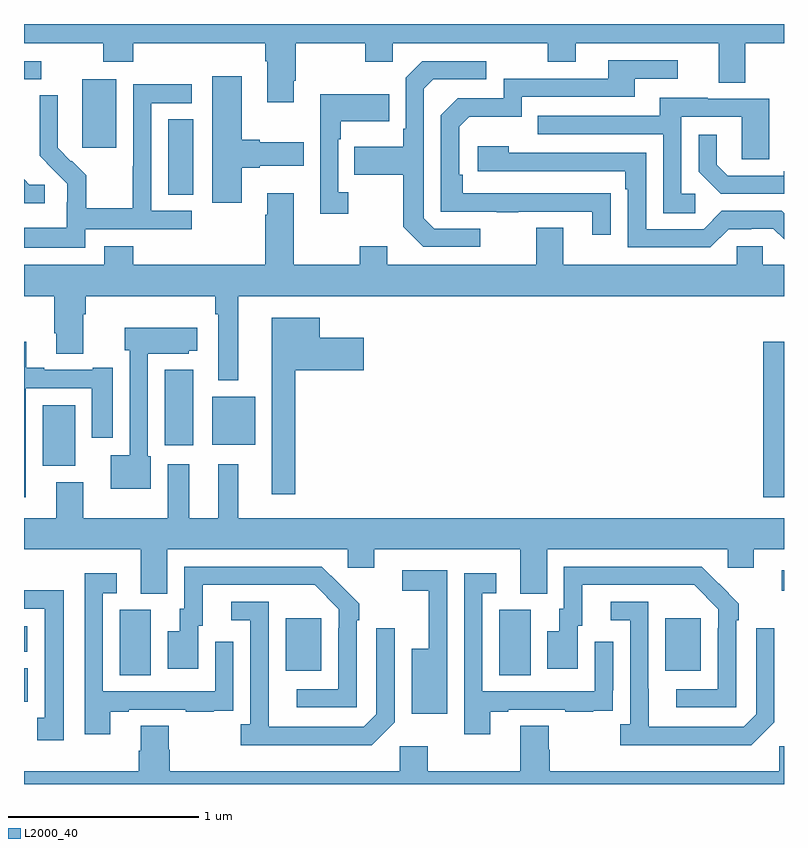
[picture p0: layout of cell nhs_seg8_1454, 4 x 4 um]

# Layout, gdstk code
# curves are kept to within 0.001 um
import gdstk
lib = gdstk.Library(unit=1e-6, precision=1e-09)
def R(c, l, rs):  # rectangles x0, y0, x1, y1
    for r in rs: c.add(gdstk.rectangle(r[:2], r[2:], *l))
def P(c, l, *ps):  # polygons
    for p in ps: c.add(gdstk.Polygon(p, *l))
L2000_40 = (2000, 40)

nhs_seg8_1454 = lib.new_cell('nhs_seg8_1454')
R(nhs_seg8_1454, L2000_40, [(203,1146.332,203.02,1146.508), (203.504,1146.472,203.668,1146.816), (205.502,1146.472,205.666,1146.816), (204.377,1146.497,204.565,1146.772), (206.375,1146.497,206.563,1146.772), (203,1146.596,203.017,1146.73), (206.988,1146.918,207,1147.026), (206.89,1147.41,207,1148.227), (203.099,1147.574,203.269,1147.894), (203.741,1147.683,203.89,1148.08), (203.99,1147.685,204.217,1147.939), (203.759,1149.001,203.89,1149.398), (203.306,1149.249,203.485,1149.61), (203,1149.609,203.092,1149.705)])
P(nhs_seg8_1454, L2000_40, [(204.421,1149.601),(204.429,1149.601),(204.429,1149.8),(204.796,1149.8),(204.796,1149.701),(204.942,1149.701),(204.942,1149.8),(205.756,1149.8),(205.756,1149.701),(205.903,1149.701),(205.903,1149.8),(206.657,1149.8),(206.657,1149.592),(206.797,1149.592),(206.797,1149.8),(207,1149.8),(207,1149.9),(203,1149.9),(203,1149.8),(203.416,1149.8),(203.416,1149.701),(203.576,1149.701),(203.576,1149.8),(204.269,1149.8),(204.269,1149.704),(204.281,1149.704),(204.281,1149.489),(204.421,1149.489)],
  [(206.087,1149.008),(205.31,1149.009),(205.31,1149.106),(205.29,1149.106),(205.29,1149.36),(205.343,1149.413),(205.62,1149.413),(205.62,1149.516),(206.215,1149.516),(206.215,1149.612),(206.44,1149.612),(206.44,1149.708),(206.075,1149.708),(206.075,1149.612),(205.524,1149.612),(205.524,1149.51),(205.284,1149.51),(205.194,1149.42),(205.194,1148.913),(205.489,1148.913),(205.489,1148.908),(205.601,1148.908),(205.601,1148.913),(205.991,1148.913),(205.991,1148.79),(206.087,1148.79)],
  [(205.402,1148.823),(205.158,1148.823),(205.104,1148.877),(205.104,1149.558),(205.155,1149.609),(205.432,1149.609),(205.432,1149.705),(205.095,1149.705),(205.008,1149.618),(205.008,1149.349),(204.996,1149.349),(204.996,1149.253),(204.739,1149.253),(204.739,1149.106),(204.996,1149.106),(204.996,1148.833),(205.101,1148.727),(205.402,1148.727)],
  [(204.145,1149.143),(204.241,1149.143),(204.241,1149.155),(204.472,1149.155),(204.472,1149.277),(204.241,1149.277),(204.241,1149.29),(204.145,1149.29),(204.145,1149.625),(203.99,1149.625),(203.99,1148.958),(204.145,1148.958)],
  [(203.322,1148.82),(203.884,1148.82),(203.884,1148.916),(203.67,1148.916),(203.67,1149.483),(203.884,1149.483),(203.884,1149.582),(203.574,1149.582),(203.574,1149.152),(203.572,1149.152),(203.572,1148.929),(203.327,1148.929),(203.327,1149.103),(203.25,1149.18),(203.247,1149.177),(203.177,1149.248),(203.178,1149.524),(203.082,1149.524),(203.082,1149.206),(203.228,1149.058),(203.228,1148.961),(203.226,1148.961),(203.226,1148.827),(203,1148.827),(203,1148.723),(203.322,1148.723)],
  [(204.706,1149.014),(204.654,1149.014),(204.654,1149.293),(204.667,1149.293),(204.667,1149.389),(204.923,1149.389),(204.923,1149.529),(204.558,1149.529),(204.558,1148.901),(204.706,1148.901)],
  [(206.533,1149.006),(206.46,1149.006),(206.46,1149.411),(206.778,1149.411),(206.778,1149.187),(206.923,1149.187),(206.923,1149.507),(206.599,1149.507),(206.599,1149.511),(206.345,1149.511),(206.345,1149.417),(205.705,1149.417),(205.705,1149.321),(206.364,1149.321),(206.364,1148.905),(206.533,1148.905)],
  [(207,1149.125),(206.999,1149.125),(206.999,1149.102),(206.704,1149.102),(206.647,1149.159),(206.647,1149.316),(206.55,1149.316),(206.55,1149.122),(206.666,1149.006),(207,1149.006)],
  [(206.709,1148.82),(206.828,1148.82),(206.828,1148.823),(206.943,1148.823),(207,1148.766),(207,1148.904),(206.988,1148.916),(206.673,1148.916),(206.577,1148.82),(206.274,1148.82),(206.274,1149.222),(205.55,1149.222),(205.55,1149.256),(205.389,1149.256),(205.389,1149.126),(206.165,1149.126),(206.165,1149.029),(206.178,1149.029),(206.178,1148.724),(206.613,1148.724)],
  [(203.11,1149.054),(203.028,1149.054),(203,1149.082),(203,1148.957),(203.11,1148.957)],
  [(204.127,1148.468),(207,1148.468),(207,1148.632),(206.889,1148.632),(206.889,1148.73),(206.751,1148.73),(206.751,1148.632),(205.837,1148.632),(205.837,1148.827),(205.697,1148.827),(205.697,1148.632),(204.913,1148.632),(204.913,1148.731),(204.766,1148.731),(204.766,1148.632),(204.421,1148.632),(204.421,1149.01),(204.281,1149.01),(204.281,1148.897),(204.269,1148.897),(204.269,1148.632),(203.576,1148.632),(203.576,1148.731),(203.423,1148.731),(203.423,1148.632),(203,1148.632),(203,1148.468),(203.159,1148.468),(203.159,1148.272),(203.171,1148.272),(203.171,1148.164),(203.311,1148.164),(203.311,1148.372),(203.324,1148.372),(203.324,1148.468),(204.006,1148.468),(204.006,1148.372),(204.023,1148.372),(204.023,1148.024),(204.127,1148.024)],
  [(204.427,1148.078),(204.787,1148.078),(204.787,1148.248),(204.556,1148.248),(204.556,1148.353),(204.305,1148.353),(204.305,1147.425),(204.427,1147.425)],
  [(203.668,1147.626),(203.652,1147.626),(203.652,1148.165),(203.868,1148.165),(203.868,1148.18),(203.911,1148.18),(203.911,1148.302),(203.531,1148.302),(203.531,1148.184),(203.556,1148.184),(203.556,1147.63),(203.456,1147.63),(203.456,1147.454),(203.668,1147.454)],
  [(203.01,1147.983),(203.357,1147.983),(203.357,1147.722),(203.467,1147.722),(203.467,1148.092),(203.363,1148.092),(203.363,1148.079),(203.107,1148.079),(203.107,1148.092),(203.011,1148.092),(203.011,1148.227),(203,1148.227),(203,1147.41),(203.01,1147.41)],
  [(203.755,1147.136),(204.705,1147.136),(204.705,1147.038),(204.844,1147.038),(204.844,1147.136),(205.613,1147.136),(205.613,1146.901),(205.753,1146.901),(205.753,1147.136),(206.703,1147.136),(206.703,1147.038),(206.842,1147.038),(206.842,1147.136),(207,1147.136),(207,1147.3),(204.127,1147.3),(204.127,1147.582),(204.023,1147.582),(204.023,1147.3),(203.869,1147.3),(203.869,1147.582),(203.756,1147.582),(203.756,1147.3),(203.311,1147.3),(203.311,1147.489),(203.171,1147.489),(203.171,1147.3),(203,1147.3),(203,1147.136),(203.615,1147.136),(203.615,1146.901),(203.755,1146.901)],
  [(206.748,1146.761),(206.763,1146.761),(206.763,1146.849),(206.566,1147.044),(205.842,1147.044),(205.842,1146.822),(205.817,1146.822),(205.817,1146.703),(205.754,1146.703),(205.754,1146.507),(205.915,1146.507),(205.915,1146.732),(205.939,1146.732),(205.939,1146.948),(206.527,1146.948),(206.655,1146.819),(206.655,1146.719),(206.652,1146.719),(206.652,1146.399),(206.433,1146.399),(206.433,1146.303),(206.748,1146.303)],
  [(204.75,1146.761),(204.765,1146.761),(204.765,1146.849),(204.568,1147.044),(203.844,1147.044),(203.844,1146.822),(203.819,1146.822),(203.819,1146.703),(203.756,1146.703),(203.756,1146.507),(203.917,1146.507),(203.917,1146.732),(203.941,1146.732),(203.941,1146.948),(204.529,1146.948),(204.657,1146.819),(204.657,1146.719),(204.654,1146.719),(204.654,1146.399),(204.435,1146.399),(204.435,1146.303),(204.75,1146.303)],
  [(205.228,1146.509),(205.227,1146.509),(205.227,1147.026),(204.99,1147.026),(204.99,1146.918),(205.13,1146.918),(205.13,1146.613),(205.04,1146.613),(205.04,1146.269),(205.228,1146.269)],
  [(203.455,1146.279),(203.551,1146.279),(203.551,1146.291),(203.851,1146.291),(203.851,1146.279),(203.999,1146.279),(203.999,1146.285),(204.101,1146.285),(204.101,1146.394),(204.102,1146.394),(204.102,1146.649),(204.006,1146.649),(204.006,1146.387),(203.415,1146.387),(203.415,1146.903),(203.488,1146.903),(203.488,1147.009),(203.319,1147.009),(203.319,1146.162),(203.455,1146.162)],
  [(205.453,1146.279),(205.549,1146.279),(205.549,1146.291),(205.849,1146.291),(205.849,1146.279),(205.997,1146.279),(205.997,1146.285),(206.099,1146.285),(206.099,1146.394),(206.1,1146.394),(206.1,1146.649),(206.004,1146.649),(206.004,1146.387),(205.413,1146.387),(205.413,1146.903),(205.486,1146.903),(205.486,1147.009),(205.317,1147.009),(205.317,1146.162),(205.453,1146.162)],
  [(203.209,1146.92),(203,1146.92),(203,1146.822),(203.108,1146.822),(203.108,1146.249),(203.069,1146.249),(203.069,1146.129),(203.209,1146.129)],
  [(204.951,1146.225),(204.951,1146.721),(204.855,1146.721),(204.855,1146.267),(204.789,1146.201),(204.289,1146.201),(204.288,1146.858),(204.09,1146.858),(204.09,1146.762),(204.192,1146.762),(204.192,1146.214),(204.141,1146.214),(204.141,1146.104),(204.83,1146.104)],
  [(206.949,1146.225),(206.949,1146.721),(206.853,1146.721),(206.853,1146.267),(206.787,1146.201),(206.287,1146.201),(206.286,1146.858),(206.088,1146.858),(206.088,1146.762),(206.19,1146.762),(206.19,1146.214),(206.139,1146.214),(206.139,1146.104),(206.828,1146.104)],
  [(207,1146.1),(206.976,1146.1),(206.976,1145.968),(205.766,1145.968),(205.766,1146.081),(205.761,1146.081),(205.761,1146.206),(205.613,1146.206),(205.613,1145.968),(205.125,1145.968),(205.125,1146.1),(204.978,1146.1),(204.978,1145.968),(203.768,1145.968),(203.768,1146.081),(203.763,1146.081),(203.763,1146.206),(203.615,1146.206),(203.615,1146.074),(203.603,1146.074),(203.603,1145.968),(203,1145.968),(203,1145.9),(207,1145.9)])

lib.write_gds('nhs_seg8_1454.gds')
